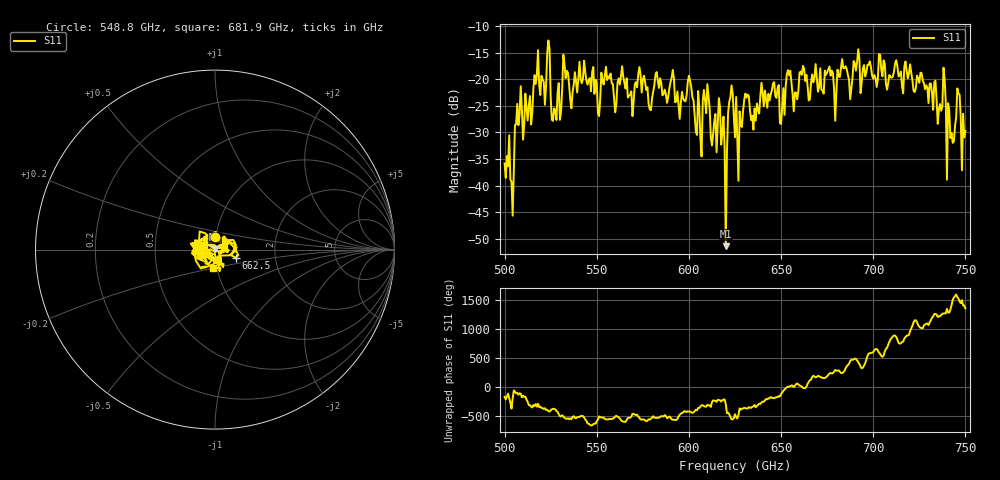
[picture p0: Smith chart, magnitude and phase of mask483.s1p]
!Created with skrf (http://scikit-rf.org).
# GHz S MA R 50.0
!freq magS11 angS11
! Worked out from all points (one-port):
!   401 points, 500 GHz to 750 GHz, reference 50 ohm
!   lowest |S11| = -51.4 dB at 620 GHz (marker M1), VSWR 1.01, Z = 50.1 + j0.246 ohm
!   |S11| at or under -10 dB: start of sweep to end of sweep
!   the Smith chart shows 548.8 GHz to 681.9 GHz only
!   S11 on the Smith chart (normalised r, x): 548.8 GHz: 0.99, +0.15; 662.5 GHz: 1.26, -0.11; 681.9 GHz: 0.96, -0.20
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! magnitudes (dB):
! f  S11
! 500 GHz  -35.8
! 504.4 GHz  -45.7
! 507.5 GHz  -28.7
! 513.8 GHz  -23.2
! 516.9 GHz  -20.9
! 523.8 GHz  -12.7
! 526.9 GHz  -25.5
! 531.2 GHz  -21.7
! 548.8 GHz  -22.7
! 562.5 GHz  -21.0
! 593.8 GHz  -22.3
! 600.6 GHz  -20.3
! 605.6 GHz  -25.4
! 609.4 GHz  -26.4
! 613.8 GHz  -28.0
! 617.5 GHz  -32.3
! 620 GHz  -51.4
! 622.5 GHz  -23.4
! 625 GHz  -30.9
! 627.5 GHz  -26.0
! 631.2 GHz  -23.5
! 635 GHz  -29.5
! 656.2 GHz  -22.9
! 662.5 GHz  -18.0
! 681.9 GHz  -19.6
! 687.5 GHz  -23.8
! 718.8 GHz  -19.8
! 750 GHz  -29.7
